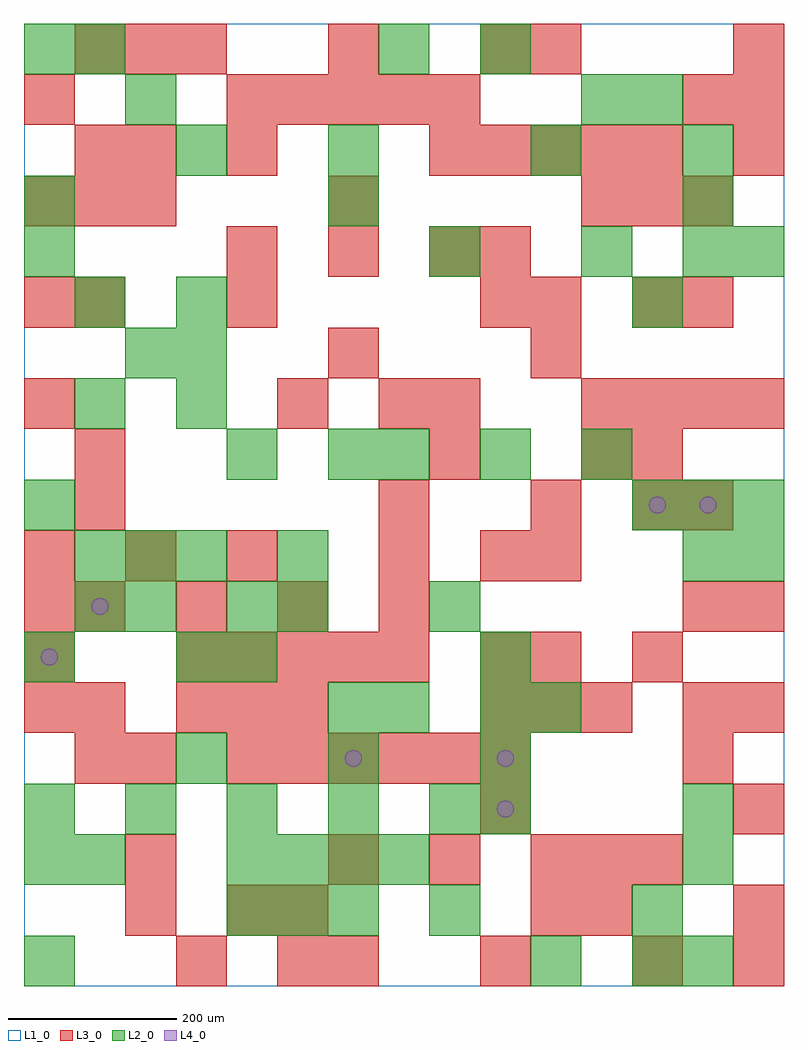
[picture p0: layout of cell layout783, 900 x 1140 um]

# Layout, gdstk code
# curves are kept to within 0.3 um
import gdstk
lib = gdstk.Library(unit=1e-6, precision=1e-09)
def R(c, l, rs):  # rectangles x0, y0, x1, y1
    for r in rs: c.add(gdstk.rectangle(r[:2], r[2:], *l))
def A(c, l, x, y, w, h, nx, ny, dx, dy):  # array of equal rectangles
    R(c, l, [(x+i*dx, y+j*dy, x+i*dx+w, y+j*dy+h) for i in range(nx) for j in range(ny)])
def P(c, l, *ps):  # polygons
    for p in ps: c.add(gdstk.Polygon(p, *l))
L1_0 = (1, 0)
L2_0 = (2, 0)
L3_0 = (3, 0)
L4_0 = (4, 0)

layout783 = lib.new_cell('layout783')
R(layout783, L1_0, [(0,0,900,1140)])
A(layout783, L2_0, 240, 60, 60, 60, 3, 1, 60, 0)
A(layout783, L2_0, 240, 120, 60, 60, 4, 1, 60, 0)
A(layout783, L2_0, 0, 180, 60, 60, 5, 1, 120, 0)
A(layout783, L2_0, 180, 240, 60, 60, 3, 1, 180, 0)
A(layout783, L2_0, 360, 300, 60, 60, 1, 3, 0, 300)
A(layout783, L2_0, 120, 420, 60, 60, 1, 3, 0, 300)
A(layout783, L2_0, 60, 480, 60, 60, 3, 1, 60, 0)
A(layout783, L2_0, 720, 540, 60, 60, 3, 1, 60, 0)
A(layout783, L2_0, 420, 600, 60, 60, 3, 1, 120, 0)
A(layout783, L2_0, 180, 660, 60, 60, 1, 3, 0, 60)
A(layout783, L2_0, 780, 840, 60, 60, 1, 3, 0, 60)
R(layout783, L2_0, [(0,0,60,60), (600,0,660,60), (720,0,780,60), (780,0,840,60), (480,60,540,120), (720,60,780,120), (0,120,60,180), (60,120,120,180), (780,120,840,180), (540,180,600,240), (780,180,840,240), (420,300,480,360), (540,300,600,360), (600,300,660,360), (0,360,60,420), (180,360,240,420), (240,360,300,420), (540,360,600,420), (60,420,120,480), (240,420,300,480), (300,420,360,480), (480,420,540,480), (300,480,360,540), (780,480,840,540), (840,480,900,540), (0,540,60,600), (240,600,300,660), (60,660,120,720), (60,780,120,840), (720,780,780,840), (0,840,60,900), (480,840,540,900), (660,840,720,900), (840,840,900,900), (0,900,60,960), (180,960,240,1020), (360,960,420,1020), (600,960,660,1020), (660,1020,720,1080), (720,1020,780,1080), (0,1080,60,1140), (60,1080,120,1140), (420,1080,480,1140), (540,1080,600,1140)])
A(layout783, L3_0, 360, 0, 60, 60, 3, 1, 180, 0)
A(layout783, L3_0, 840, 60, 60, 60, 1, 4, 0, 120)
A(layout783, L3_0, 360, 120, 60, 60, 3, 1, 120, 0)
A(layout783, L3_0, 240, 240, 60, 60, 6, 1, 60, 0)
A(layout783, L3_0, 0, 300, 60, 60, 1, 3, 0, 60)
A(layout783, L3_0, 180, 300, 60, 60, 3, 1, 60, 0)
A(layout783, L3_0, 540, 300, 60, 60, 3, 1, 60, 0)
A(layout783, L3_0, 780, 300, 60, 60, 1, 3, 0, 120)
A(layout783, L3_0, 180, 360, 60, 60, 5, 1, 60, 0)
A(layout783, L3_0, 60, 420, 60, 60, 4, 1, 120, 0)
A(layout783, L3_0, 0, 480, 60, 60, 3, 1, 120, 0)
A(layout783, L3_0, 60, 600, 60, 60, 1, 3, 0, 180)
A(layout783, L3_0, 660, 660, 60, 60, 4, 1, 60, 0)
A(layout783, L3_0, 360, 720, 60, 60, 1, 3, 0, 180)
A(layout783, L3_0, 240, 840, 60, 60, 3, 1, 120, 0)
A(layout783, L3_0, 0, 900, 60, 60, 3, 1, 60, 0)
A(layout783, L3_0, 660, 900, 60, 60, 3, 1, 60, 0)
A(layout783, L3_0, 480, 960, 60, 60, 5, 1, 60, 0)
A(layout783, L3_0, 840, 960, 60, 60, 1, 3, 0, 60)
A(layout783, L3_0, 240, 1020, 60, 60, 5, 1, 60, 0)
A(layout783, L3_0, 60, 1080, 60, 60, 3, 1, 60, 0)
R(layout783, L3_0, [(180,0,240,60), (300,0,360,60), (840,0,900,60), (120,60,180,120), (240,60,300,120), (300,60,360,120), (600,60,660,120), (660,60,720,120), (120,120,180,180), (660,120,720,180), (720,120,780,180), (540,180,600,240), (60,240,120,300), (120,240,180,300), (780,240,840,300), (60,300,120,360), (540,360,600,420), (600,360,660,420), (720,360,780,420), (420,480,480,540), (540,480,600,540), (600,480,660,540), (60,540,120,600), (420,540,480,600), (600,540,660,600), (720,540,780,600), (480,600,540,660), (660,600,720,660), (720,600,780,660), (0,660,60,720), (300,660,360,720), (420,660,480,720), (480,660,540,720), (600,720,660,780), (0,780,60,840), (240,780,300,840), (540,780,600,840), (600,780,660,840), (720,780,780,840), (780,780,840,840), (540,840,600,900), (120,960,180,1020), (240,960,300,1020), (0,1020,60,1080), (780,1020,840,1080), (540,1080,600,1140), (600,1080,660,1140)])
P(layout783, L4_0, [(40,390),(39.239,393.827),(37.071,397.071),(33.827,399.239),(30,400),(26.173,399.239),(22.929,397.071),(20.761,393.827),(20,390),(20.761,386.173),(22.929,382.929),(26.173,380.761),(30,380),(33.827,380.761),(37.071,382.929),(39.239,386.173)],
  [(100,450),(99.239,453.827),(97.071,457.071),(93.827,459.239),(90,460),(86.173,459.239),(82.929,457.071),(80.761,453.827),(80,450),(80.761,446.173),(82.929,442.929),(86.173,440.761),(90,440),(93.827,440.761),(97.071,442.929),(99.239,446.173)],
  [(400,270),(399.239,273.827),(397.071,277.071),(393.827,279.239),(390,280),(386.173,279.239),(382.929,277.071),(380.761,273.827),(380,270),(380.761,266.173),(382.929,262.929),(386.173,260.761),(390,260),(393.827,260.761),(397.071,262.929),(399.239,266.173)],
  [(580,210),(579.239,213.827),(577.071,217.071),(573.827,219.239),(570,220),(566.173,219.239),(562.929,217.071),(560.761,213.827),(560,210),(560.761,206.173),(562.929,202.929),(566.173,200.761),(570,200),(573.827,200.761),(577.071,202.929),(579.239,206.173)],
  [(580,270),(579.239,273.827),(577.071,277.071),(573.827,279.239),(570,280),(566.173,279.239),(562.929,277.071),(560.761,273.827),(560,270),(560.761,266.173),(562.929,262.929),(566.173,260.761),(570,260),(573.827,260.761),(577.071,262.929),(579.239,266.173)],
  [(760,570),(759.239,573.827),(757.071,577.071),(753.827,579.239),(750,580),(746.173,579.239),(742.929,577.071),(740.761,573.827),(740,570),(740.761,566.173),(742.929,562.929),(746.173,560.761),(750,560),(753.827,560.761),(757.071,562.929),(759.239,566.173)],
  [(820,570),(819.239,573.827),(817.071,577.071),(813.827,579.239),(810,580),(806.173,579.239),(802.929,577.071),(800.761,573.827),(800,570),(800.761,566.173),(802.929,562.929),(806.173,560.761),(810,560),(813.827,560.761),(817.071,562.929),(819.239,566.173)])

lib.write_gds('layout783.gds')
